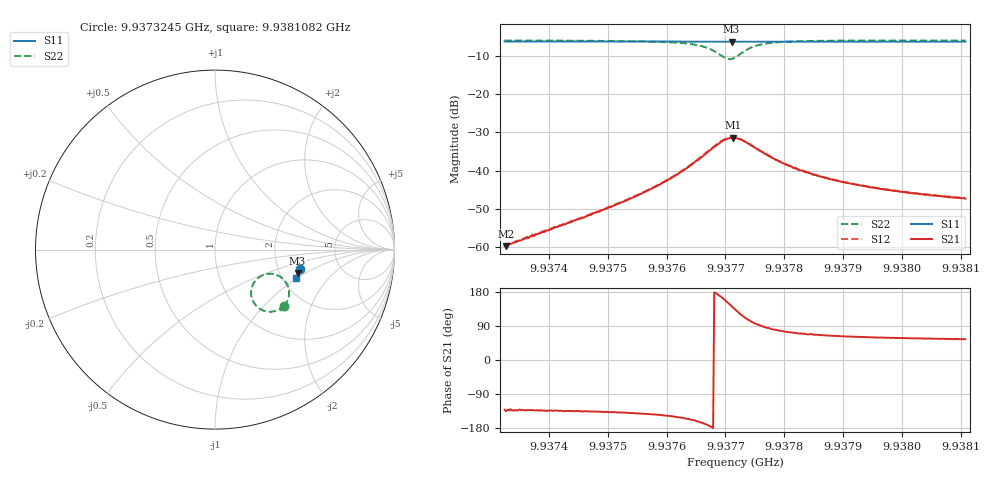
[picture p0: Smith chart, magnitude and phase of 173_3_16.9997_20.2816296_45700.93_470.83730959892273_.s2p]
#  HZ  S  RI  R  50.00
! Rohde & Schwarz Vector Network Analyzer
! Rohde-Schwarz,ZNB20-2Port,1311601062101988,3.16
! Created: UTC 3/20/2024, 10:59:51 PM
! freq[Hz]  re:S11  im:S11  re:S21  im:S21  re:S12  im:S12  re:S22  im:S22
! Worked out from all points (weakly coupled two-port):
!   401 points, 9.9373245 GHz to 9.9381082 GHz, reference 50 ohm
!   highest |S21| = -31.40 dB at 9.9377124 GHz (marker M1); lowest = -59.7 dB at 9.9373265 GHz (marker M2)
!   lowest |S11| = -6.4 dB at 9.9377105 GHz (marker M3), VSWR 2.84, Z = 125 - j42.7 ohm
!   |S11| at or under -10 dB: nowhere
!   |S22| runs from -10.9 to -6.0 dB; largest |S21 - S12| = 0.0013
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9.9373245e9  0.4712 -0.1081  -0.00069 -0.000782  -0.000685 -0.000773  0.3872 -0.3124
9.93732646e9  0.471 -0.1081  -0.000731 -0.000729  -0.000745 -0.000755  0.3868 -0.3125
9.93745577e9  0.4685 -0.1169  -0.00168 -0.0017  -0.00176 -0.0017  0.3718 -0.3248
9.93753022e9  0.4666 -0.1221  -0.00305 -0.00263  -0.00317 -0.00264  0.3562 -0.3345
9.93758704e9  0.4651 -0.1258  -0.00531 -0.00375  -0.00549 -0.0037  0.334 -0.343
9.93763015e9  0.4638 -0.129  -0.00916 -0.00453  -0.00945 -0.00449  0.2996 -0.3462
9.93766541e9  0.4623 -0.1312  -0.0159 -0.00323  -0.0164 -0.00283  0.2449 -0.3263
9.93767913e9  0.4614 -0.1318  -0.0198 -0.000116  -0.0202 0.000252  0.2177 -0.2975
9.93769284e9  0.4605 -0.1322  -0.023 0.00549  -0.0234 0.00653  0.2012 -0.2456
9.93770264e9  0.4602 -0.1321  -0.0232 0.0117  -0.0231 0.0126  0.2101 -0.1979
9.93771048e9  0.46 -0.1321  -0.0211 0.0165  -0.0207 0.0175  0.2341 -0.1634
9.93771244e9  0.4601 -0.132  -0.0204 0.0175  -0.0199 0.0184  0.2424 -0.1567
9.93771636e9  0.4602 -0.1319  -0.0183 0.0191  -0.0178 0.0203  0.2601 -0.1457
9.93772615e9  0.4606 -0.1321  -0.0128 0.0219  -0.0121 0.0227  0.3077 -0.1346
9.93773987e9  0.4611 -0.133  -0.00604 0.0215  -0.00516 0.0219  0.3606 -0.1493
9.93776142e9  0.4614 -0.1347  1.1e-05 0.0177  0.000539 0.0177  0.4004 -0.1902
9.93778689e9  0.4612 -0.1367  0.00252 0.0134  0.0029 0.0135  0.4121 -0.2279
9.9378104e9  0.4608 -0.1386  0.00329 0.0109  0.00365 0.0107  0.4126 -0.2503
9.93784763e9  0.46 -0.1412  0.00337 0.00832  0.00368 0.0083  0.4084 -0.2725
9.93790837e9  0.4585 -0.1454  0.0032 0.00608  0.00336 0.00605  0.4004 -0.2925
9.9379789e9  0.4567 -0.1502  0.00288 0.00473  0.00302 0.00474  0.3925 -0.3059
9.93810822e9  0.4533 -0.1586  0.00248 0.00352  0.00256 0.00357  0.3813 -0.3209
